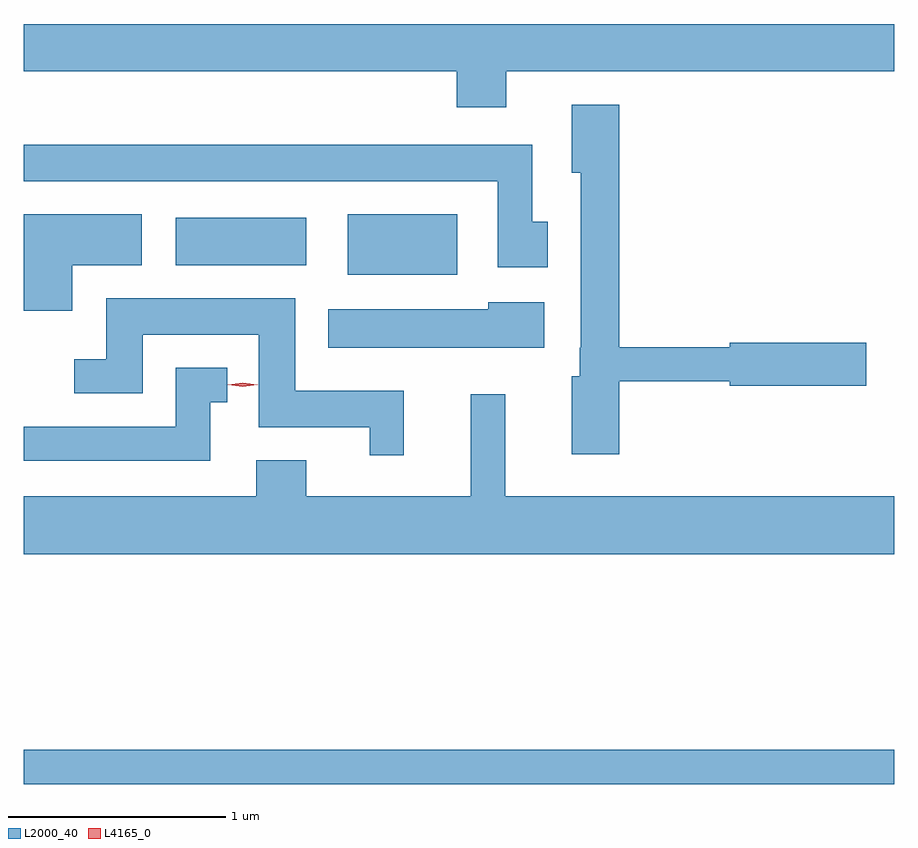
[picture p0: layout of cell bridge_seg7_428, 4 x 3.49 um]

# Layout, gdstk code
import gdstk
lib = gdstk.Library(unit=1e-6, precision=1e-09)
def R(c, l, rs):  # rectangles x0, y0, x1, y1
    for r in rs: c.add(gdstk.rectangle(r[:2], r[2:], *l))
def P(c, l, *ps):  # polygons
    for p in ps: c.add(gdstk.Polygon(p, *l))
L2000_40 = (2000, 40)
L4165_0 = (4165, 0)

bridge_seg7_428 = lib.new_cell('bridge_seg7_428')
R(bridge_seg7_428, L2000_40, [(1165.882,1704.381,1169.882,1704.539), (1167.371,1706.721,1167.874,1706.999), (1166.581,1706.766,1167.179,1706.984)])
P(bridge_seg7_428, L2000_40, [(1165.882,1707.656),(1167.871,1707.656),(1167.871,1707.491),(1168.099,1707.491),(1168.099,1707.656),(1169.882,1707.656),(1169.882,1707.874),(1165.882,1707.874)],
  [(1168.619,1706.231),(1169.126,1706.231),(1169.126,1706.211),(1169.754,1706.211),(1169.754,1706.409),(1169.126,1706.409),(1169.126,1706.389),(1168.619,1706.389),(1168.619,1707.504),(1168.401,1707.504),(1168.401,1707.191),(1168.441,1707.191),(1168.441,1706.385),(1168.436,1706.385),(1168.436,1706.254),(1168.401,1706.254),(1168.401,1705.896),(1168.619,1705.896)],
  [(1168.289,1706.964),(1168.219,1706.964),(1168.219,1707.319),(1165.882,1707.319),(1165.882,1707.151),(1168.061,1707.151),(1168.061,1706.756),(1168.289,1706.756)],
  [(1166.104,1706.766),(1166.424,1706.766),(1166.424,1706.999),(1165.882,1706.999),(1165.882,1706.556),(1166.104,1706.556)],
  [(1167.629,1706.189),(1167.129,1706.189),(1167.129,1706.614),(1166.261,1706.614),(1166.261,1706.334),(1166.113,1706.334),(1166.113,1706.176),(1166.429,1706.176),(1166.429,1706.446),(1166.961,1706.446),(1166.961,1706.021),(1167.471,1706.021),(1167.471,1705.893),(1167.629,1705.893)],
  [(1168.274,1706.594),(1168.016,1706.594),(1168.016,1706.564),(1167.281,1706.564),(1167.281,1706.386),(1168.274,1706.386)],
  [(1166.739,1706.136),(1166.818,1706.136),(1166.818,1706.294),(1166.581,1706.294),(1166.581,1706.024),(1165.882,1706.024),(1165.882,1705.866),(1166.739,1705.866)],
  [(1169.882,1705.704),(1168.094,1705.704),(1168.094,1706.173),(1167.936,1706.173),(1167.936,1705.704),(1167.179,1705.704),(1167.179,1705.869),(1166.951,1705.869),(1166.951,1705.704),(1165.882,1705.704),(1165.882,1705.436),(1169.882,1705.436)])
P(bridge_seg7_428, L4165_0, [(1166.888,1706.206),(1166.819,1706.215),(1166.819,1706.216),(1166.819,1706.216),(1166.888,1706.226),(1166.958,1706.217),(1166.958,1706.216),(1166.958,1706.216)])

lib.write_gds('bridge_seg7_428.gds')
